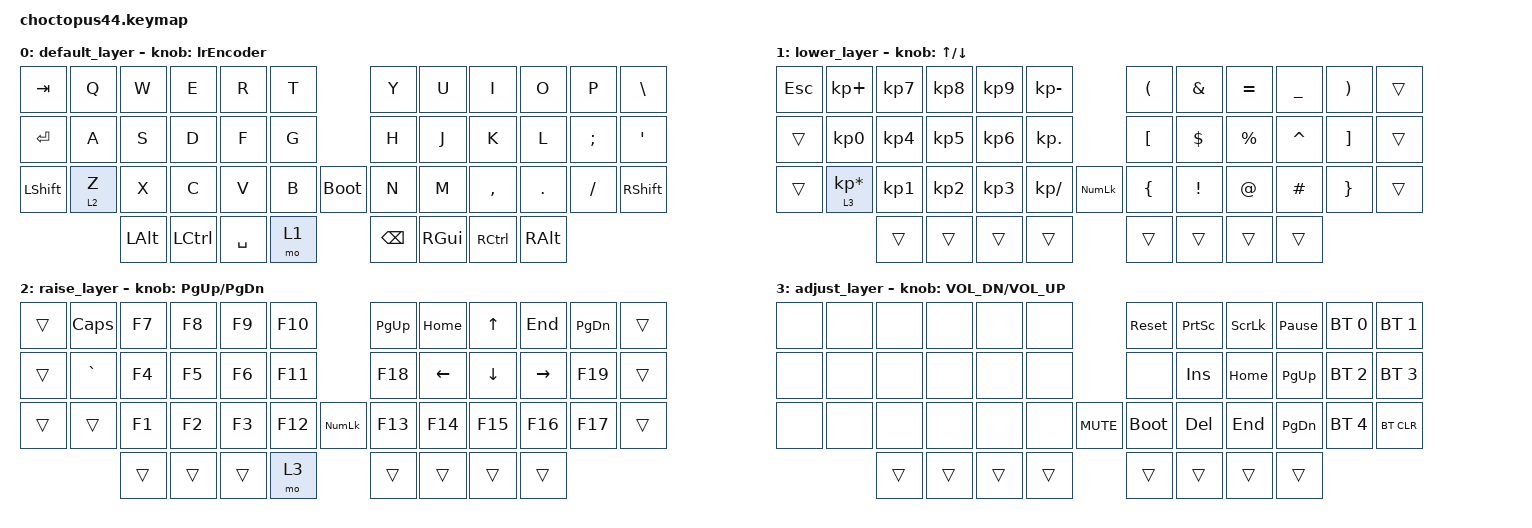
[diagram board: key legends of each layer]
/*
 * Copyright (c) 2021 The ZMK Contributors
 *
 * SPDX-License-Identifier: MIT
 */

#include <behaviors.dtsi>
#include <dt-bindings/zmk/keys.h>
#include <dt-bindings/zmk/bt.h>
#include <dt-bindings/zmk/rgb.h>

&mt {
    tapping-term-ms = <400>;
};

/ {
  behaviors {
        tdLeft: tdLeft {
            compatible = "zmk,behavior-tap-dance";
            #binding-cells = <0>;
            tapping-term-ms = <200>;
            bindings = <&none>, <&kp LEFT>;
        };
        };
  behaviors {
        tdRight: tdRight {
            compatible = "zmk,behavior-tap-dance";
            #binding-cells = <0>;
            tapping-term-ms = <200>;
            bindings = <&none>, <&kp RIGHT>;
        };
        };
  behaviors {
        lrEncoder: lrEncoder {
            compatible = "zmk,behavior-sensor-rotate";
            #sensor-binding-cells = <0>;
            bindings = <&tdLeft>, <&tdRight>;
        };
        };
  keymap {
    compatible = "zmk,keymap";


    default_layer {
      bindings = <
        &kp TAB     &kp Q          &kp W         &kp E         &kp R     &kp T                                   &kp Y     &kp U     &kp I      &kp O    &kp P     &kp BSLH
        &kp RET     &kp A          &kp S         &kp D         &kp F     &kp G                                   &kp H     &kp J     &kp K      &kp L    &kp SEMI  &kp SQT
        &kp LSHFT   &lt 2 Z        &kp X         &kp C         &kp V     &kp B         &bootloader               &kp N     &kp M     &kp COMMA  &kp DOT  &kp FSLH  &kp RSHFT 
                                   &kp LALT      &kp LCTRL     &kp SPACE &mo 1                                   &kp BSPC  &kp RGUI  &kp RCTRL  &kp RALT      
      >;
    
    sensor-bindings = <&lrEncoder>;
    };

    lower_layer {
      bindings = <
        &kp ESC         &kp KP_PLUS        &kp KP_N7     &kp KP_N8   &kp KP_N9  &kp KP_MINUS                            &kp LPAR    &kp AMPS    &kp EQUAL    &kp UNDER    &kp RPAR    &trans
        &trans          &kp KP_N0          &kp KP_N4     &kp KP_N5   &kp KP_N6  &kp KP_DOT                              &kp LBKT    &kp DLLR    &kp PRCNT    &kp CARET    &kp RBKT    &trans
        &trans          &lt 3 KP_MULTIPLY  &kp KP_N1     &kp KP_N2   &kp KP_N3  &kp KP_DIVIDE        &kp KP_NLCK        &kp LBRC    &kp EXCL    &kp AT_SIGN  &kp HASH     &kp RBRC    &trans
                                          &trans     &trans       &trans      &trans                                     &trans       &trans     &trans       &trans
      >;
      sensor-bindings = <&inc_dec_kp UP DOWN>;
    };

    raise_layer {
      bindings = <
        &trans      &kp CAPS   &kp F7   &kp F8   &kp F9   &kp F10                                         &kp PG_UP   &kp HOME    &kp UP     &kp END   &kp PG_DN  &trans
        &trans      &kp GRAVE  &kp F4   &kp F5   &kp F6   &kp F11                                         &kp F18  &kp LEFT    &kp DOWN   &kp RIGHT    &kp F19    &trans
        &trans      &trans     &kp F1   &kp F2   &kp F3   &kp F12           &kp KP_NLCK                   &kp F13  &kp F14     &kp F15     &kp F16     &kp F17    &trans
                               &trans    &trans   &trans   &mo 3                                          &trans    &trans      &trans     &trans
      >;
      sensor-bindings = <&inc_dec_kp PG_UP PG_DN>;
    };

    adjust_layer {
      bindings = <
        &none         &none           &none           &none           &none           &none                     &sys_reset       &kp PSCRN     &kp SLCK    &kp PAUSE_BREAK   &bt BT_SEL 0   &bt BT_SEL 1
        &none         &none           &none           &none           &none           &none                     &none            &kp INSERT    &kp HOME    &kp PG_UP         &bt BT_SEL 2   &bt BT_SEL 3
        &none         &none           &none           &none           &none           &none       &kp C_MUTE    &bootloader      &kp DEL       &kp END     &kp PG_DN         &bt BT_SEL 4   &bt BT_CLR 
                                      &trans          &trans          &trans          &trans                    &trans        &trans        &trans        &trans
      >;
      sensor-bindings = <&inc_dec_kp C_VOL_DN C_VOL_UP>;
    };

  };
};
